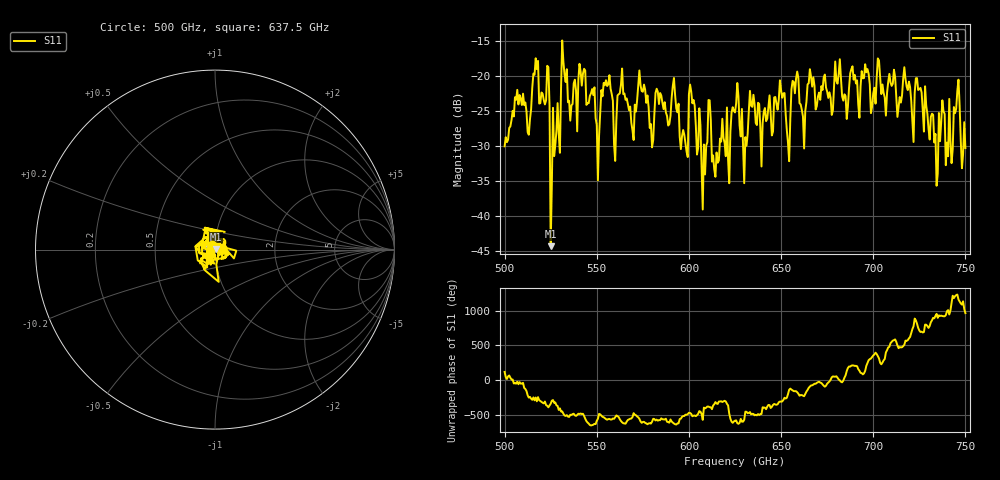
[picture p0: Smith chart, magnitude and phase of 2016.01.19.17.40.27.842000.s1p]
!Created with skrf (http://scikit-rf.org).
# GHz S RI R 50.0
!freq ReS11 ImS11
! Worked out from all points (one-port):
!   401 points, 500 GHz to 750 GHz, reference 50 ohm
!   lowest |S11| = -44.3 dB at 525 GHz (marker M1), VSWR 1.01, Z = 50.5 + j0.281 ohm
!   |S11| at or under -10 dB: start of sweep to end of sweep
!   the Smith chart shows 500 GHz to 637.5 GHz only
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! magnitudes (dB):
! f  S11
! 500 GHz  -30.0
! 513.1 GHz  -28.4
! 516.9 GHz  -17.4
! 523.1 GHz  -18.5
! 525 GHz  -44.3
! 526.2 GHz  -24.5
! 531.2 GHz  -14.9
! 542.5 GHz  -19.6
! 550.6 GHz  -34.9
! 553.8 GHz  -20.9
! 562.5 GHz  -22.4
! 593.8 GHz  -25.1
! 598.1 GHz  -29.6
! 601.9 GHz  -23.9
! 608.1 GHz  -29.8
! 610.6 GHz  -23.4
! 615 GHz  -30.9
! 625 GHz  -25.2
! 630.6 GHz  -28.7
! 633.8 GHz  -24.2
! 650.6 GHz  -23.1
! 653.8 GHz  -29.5
! 656.2 GHz  -20.6
! 687.5 GHz  -19.6
! 718.8 GHz  -22.0
! 733.8 GHz  -28.2
! 745.6 GHz  -22.1
! 750 GHz  -30.3
